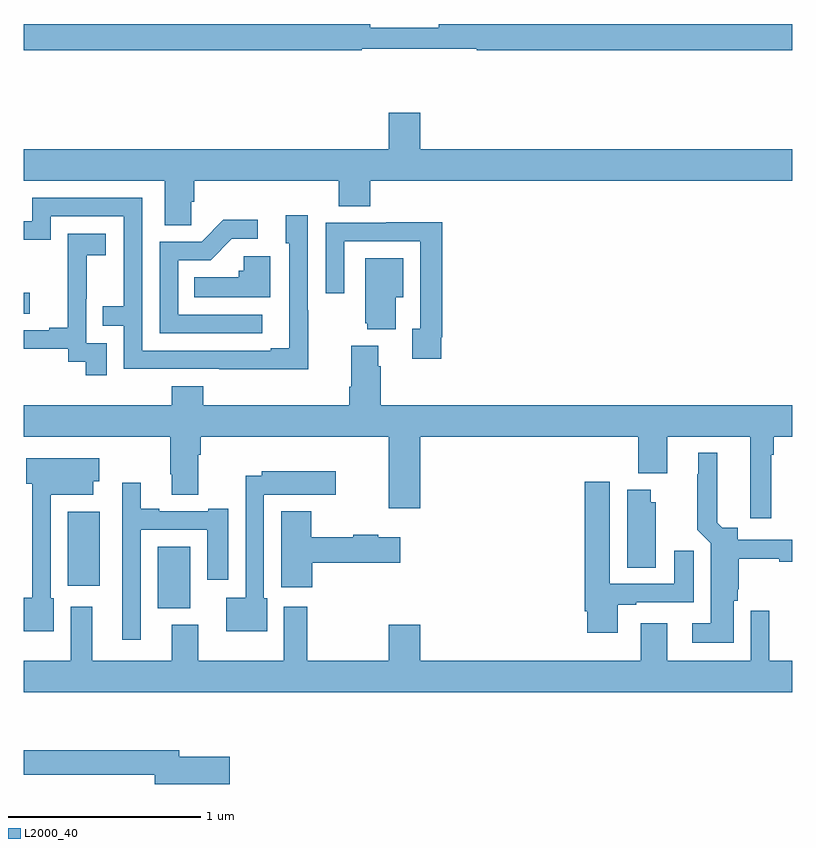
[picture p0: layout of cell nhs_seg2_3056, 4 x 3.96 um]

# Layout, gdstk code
import gdstk
lib = gdstk.Library(unit=1e-6, precision=1e-09)
def R(c, l, rs):  # rectangles x0, y0, x1, y1
    for r in rs: c.add(gdstk.rectangle(r[:2], r[2:], *l))
def P(c, l, *ps):  # polygons
    for p in ps: c.add(gdstk.Polygon(p, *l))
L2000_40 = (2000, 40)

nhs_seg2_3056 = lib.new_cell('nhs_seg2_3056')
R(nhs_seg2_3056, L2000_40, [(271.697,654.734,271.867,655.054), (271.229,654.851,271.396,655.237), (271,656.268,271.03,656.377)])
P(nhs_seg2_3056, L2000_40, [(272.758,657.648),(273.358,657.648),(273.358,657.64),(275,657.64),(275,657.776),(273.16,657.776),(273.16,657.757),(272.804,657.757),(272.804,657.776),(271,657.776),(271,657.64),(272.758,657.64)],
  [(271.872,656.851),(271.886,656.851),(271.886,656.96),(272.639,656.96),(272.639,656.827),(272.804,656.827),(272.804,656.96),(275,656.96),(275,657.124),(273.064,657.124),(273.064,657.313),(272.9,657.313),(272.9,657.124),(271,657.124),(271,656.96),(271.733,656.96),(271.733,656.728),(271.872,656.728)],
  [(272.481,656.285),(272.478,656.285),(272.478,656.779),(272.363,656.779),(272.363,656.634),(272.382,656.634),(272.382,656.089),(272.285,656.089),(272.285,656.076),(271.617,656.076),(271.617,656.871),(271.043,656.871),(271.043,656.748),(271,656.748),(271,656.652),(271.14,656.652),(271.14,656.775),(271.521,656.775),(271.521,656.306),(271.411,656.306),(271.411,656.205),(271.521,656.205),(271.521,655.98),(272.017,655.98),(272.017,655.979),(272.481,655.979)],
  [(272.242,656.262),(271.803,656.262),(271.803,656.547),(271.972,656.547),(272.083,656.658),(272.218,656.658),(272.218,656.756),(272.039,656.756),(271.926,656.643),(271.707,656.643),(271.707,656.166),(272.242,656.166)],
  [(273.172,656.146),(273.179,656.146),(273.179,656.744),(272.887,656.744),(272.887,656.742),(272.571,656.742),(272.571,656.373),(272.667,656.373),(272.667,656.646),(273.063,656.646),(273.063,656.19),(273.023,656.19),(273.023,656.034),(273.172,656.034)],
  [(271.431,656.115),(271.326,656.115),(271.326,656.345),(271.328,656.345),(271.328,656.573),(271.426,656.573),(271.426,656.683),(271.228,656.683),(271.228,656.477),(271.229,656.477),(271.229,656.194),(271.133,656.194),(271.133,656.181),(271,656.181),(271,656.085),(271.23,656.085),(271.23,656.017),(271.323,656.017),(271.323,655.947),(271.431,655.947)],
  [(272.284,656.566),(272.145,656.566),(272.145,656.49),(272.119,656.49),(272.119,656.458),(271.888,656.458),(271.888,656.354),(272.284,656.354)],
  [(272.935,656.354),(272.974,656.354),(272.974,656.557),(272.777,656.557),(272.777,656.217),(272.789,656.217),(272.789,656.186),(272.935,656.186)],
  [(274.891,655.532),(274.904,655.532),(274.904,655.628),(275,655.628),(275,655.792),(272.858,655.792),(272.858,655.994),(272.845,655.994),(272.845,656.101),(272.705,656.101),(272.705,655.888),(272.693,655.888),(272.693,655.792),(271.934,655.792),(271.934,655.891),(271.769,655.891),(271.769,655.792),(271,655.792),(271,655.628),(271.762,655.628),(271.762,655.432),(271.769,655.432),(271.769,655.324),(271.909,655.324),(271.909,655.532),(271.922,655.532),(271.922,655.628),(272.9,655.628),(272.9,655.254),(273.064,655.254),(273.064,655.628),(274.199,655.628),(274.199,655.436),(274.351,655.436),(274.351,655.628),(274.781,655.628),(274.781,655.203),(274.891,655.203)],
  [(274.696,654.774),(274.716,654.774),(274.716,654.834),(274.722,654.834),(274.722,654.991),(274.934,654.991),(274.934,654.976),(275,654.976),(275,655.092),(274.716,655.092),(274.716,655.154),(274.635,655.154),(274.609,655.18),(274.609,655.543),(274.511,655.543),(274.511,655.433),(274.507,655.433),(274.507,655.142),(274.577,655.072),(274.577,654.655),(274.479,654.655),(274.479,654.554),(274.696,654.554)],
  [(271.156,654.786),(271.14,654.786),(271.14,655.325),(271.36,655.325),(271.36,655.394),(271.393,655.394),(271.393,655.516),(271.013,655.516),(271.013,655.382),(271.044,655.382),(271.044,654.79),(271,654.79),(271,654.614),(271.156,654.614)],
  [(272.266,654.786),(272.25,654.786),(272.25,655.326),(272.347,655.326),(272.347,655.325),(272.623,655.325),(272.623,655.447),(272.238,655.447),(272.238,655.424),(272.154,655.424),(272.154,654.79),(272.054,654.79),(272.054,654.614),(272.266,654.614)],
  [(274.093,654.753),(274.189,654.753),(274.189,654.765),(274.489,654.765),(274.489,655.033),(274.385,655.033),(274.385,654.861),(274.051,654.861),(274.051,655.393),(273.92,655.393),(273.92,654.718),(273.932,654.718),(273.932,654.606),(274.093,654.606)],
  [(271.608,655.143),(271.955,655.143),(271.955,654.882),(272.065,654.882),(272.065,655.252),(271.961,655.252),(271.961,655.239),(271.705,655.239),(271.705,655.252),(271.609,655.252),(271.609,655.387),(271.512,655.387),(271.512,654.57),(271.608,654.57)],
  [(274.291,655.287),(274.264,655.287),(274.264,655.351),(274.142,655.351),(274.142,654.946),(274.291,654.946)],
  [(272.501,654.971),(272.959,654.971),(272.959,655.105),(272.846,655.105),(272.846,655.118),(272.715,655.118),(272.715,655.105),(272.496,655.105),(272.496,655.24),(272.339,655.24),(272.339,654.843),(272.501,654.843)],
  [(275,654.46),(274.882,654.46),(274.882,654.721),(274.785,654.721),(274.785,654.46),(274.351,654.46),(274.351,654.655),(274.211,654.655),(274.211,654.46),(273.064,654.46),(273.064,654.649),(272.9,654.649),(272.9,654.46),(272.475,654.46),(272.475,654.742),(272.354,654.742),(272.354,654.46),(271.909,654.46),(271.909,654.649),(271.769,654.649),(271.769,654.46),(271.357,654.46),(271.357,654.742),(271.244,654.742),(271.244,654.46),(271,654.46),(271,654.296),(275,654.296)],
  [(272.071,653.961),(271.81,653.961),(271.81,653.995),(271,653.995),(271,653.866),(271.682,653.866),(271.682,653.819),(272.071,653.819)])

lib.write_gds('nhs_seg2_3056.gds')
